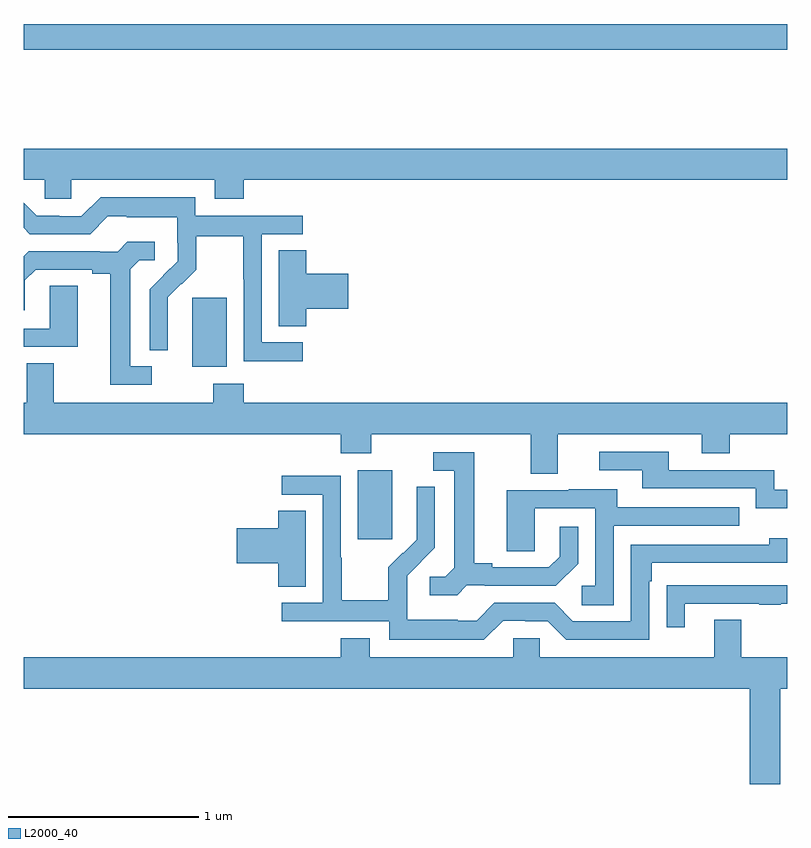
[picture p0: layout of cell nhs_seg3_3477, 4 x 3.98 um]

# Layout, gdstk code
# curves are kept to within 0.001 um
import gdstk
lib = gdstk.Library(unit=1e-6, precision=1e-09)
def R(c, l, rs):  # rectangles x0, y0, x1, y1
    for r in rs: c.add(gdstk.rectangle(r[:2], r[2:], *l))
def P(c, l, *ps):  # polygons
    for p in ps: c.add(gdstk.Polygon(p, *l))
L2000_40 = (2000, 40)

nhs_seg3_3477 = lib.new_cell('nhs_seg3_3477')
R(nhs_seg3_3477, L2000_40, [(292.751,717.681,292.93,718.042), (291.884,718.586,292.063,718.947), (291,720.244,295,720.38)])
P(nhs_seg3_3477, L2000_40, [(292.154,719.564),(295,719.564),(295,719.728),(291,719.728),(291,719.564),(291.111,719.564),(291.111,719.466),(291.249,719.466),(291.249,719.564),(292.001,719.564),(292.001,719.465),(292.154,719.465)],
  [(292.462,718.713),(292.248,718.713),(292.248,719.28),(292.462,719.28),(292.462,719.376),(291.9,719.376),(291.9,719.473),(291.403,719.473),(291.303,719.373),(291.188,719.373),(291.188,719.376),(291.069,719.376),(291,719.445),(291,719.313),(291.033,719.28),(291.348,719.28),(291.441,719.373),(291.541,719.373),(291.541,719.369),(291.804,719.369),(291.804,719.235),(291.806,719.235),(291.806,719.138),(291.66,718.99),(291.66,718.672),(291.756,718.672),(291.755,718.949),(291.825,719.019),(291.828,719.016),(291.905,719.093),(291.905,719.268),(292.15,719.268),(292.15,719.044),(292.152,719.044),(292.152,718.615),(292.462,718.615)],
  [(291.67,718.587),(291.559,718.587),(291.559,719.095),(291.606,719.142),(291.688,719.142),(291.688,719.239),(291.544,719.239),(291.492,719.187),(291.398,719.187),(291.398,719.19),(291.026,719.19),(291,719.164),(291,718.881),(291.007,718.881),(291.007,719.037),(291.064,719.094),(291.359,719.094),(291.359,719.072),(291.455,719.072),(291.455,718.491),(291.67,718.491)],
  [(292.481,718.889),(292.699,718.889),(292.699,719.072),(292.481,719.072),(292.481,719.195),(292.337,719.195),(292.337,718.798),(292.481,718.798)],
  [(291.283,719.009),(291.138,719.009),(291.138,718.785),(291,718.785),(291,718.689),(291.283,718.689)],
  [(293.797,718.232),(294.551,718.232),(294.551,718.133),(294.699,718.133),(294.699,718.232),(295,718.232),(295,718.396),(292.154,718.396),(292.154,718.495),(291.994,718.495),(291.994,718.396),(291.157,718.396),(291.157,718.604),(291.017,718.604),(291.017,718.396),(291,718.396),(291,718.232),(292.661,718.232),(292.661,718.133),(292.821,718.133),(292.821,718.232),(293.657,718.232),(293.657,718.024),(293.797,718.024)],
  [(295,717.942),(294.93,717.942),(294.93,718.044),(294.379,718.044),(294.379,718.14),(294.015,718.14),(294.015,718.044),(294.239,718.044),(294.239,717.948),(294.834,717.948),(294.834,717.845),(295,717.845)],
  [(293.322,717.441),(293.416,717.441),(293.416,717.438),(293.788,717.438),(293.904,717.554),(293.904,717.748),(293.807,717.748),(293.807,717.591),(293.75,717.534),(293.455,717.534),(293.455,717.557),(293.359,717.557),(293.359,718.137),(293.145,718.137),(293.145,718.041),(293.255,718.041),(293.255,717.533),(293.208,717.486),(293.127,717.486),(293.127,717.389),(293.27,717.389)],
  [(293.511,717.255),(293.627,717.255),(293.627,717.252),(293.745,717.252),(293.841,717.156),(294.276,717.156),(294.276,717.461),(294.289,717.461),(294.289,717.558),(295,717.558),(295,717.688),(294.905,717.688),(294.905,717.654),(294.18,717.654),(294.18,717.252),(293.877,717.252),(293.781,717.348),(293.466,717.348),(293.373,717.255),(293.273,717.255),(293.273,717.259),(293.01,717.259),(293.01,717.393),(293.008,717.393),(293.008,717.49),(293.154,717.638),(293.154,717.956),(293.058,717.956),(293.058,717.802),(293.06,717.802),(293.06,717.68),(292.989,717.609),(292.986,717.612),(292.909,717.535),(292.909,717.361),(292.665,717.361),(292.665,717.584),(292.662,717.584),(292.662,718.014),(292.353,718.014),(292.353,717.915),(292.566,717.915),(292.566,717.348),(292.353,717.348),(292.353,717.252),(292.914,717.252),(292.914,717.155),(293.411,717.155)],
  [(294.09,717.753),(294.749,717.753),(294.749,717.849),(294.109,717.849),(294.109,717.943),(293.855,717.943),(293.855,717.939),(293.531,717.939),(293.531,717.619),(293.676,717.619),(293.676,717.843),(293.994,717.843),(293.994,717.438),(293.922,717.438),(293.922,717.337),(294.09,717.337)],
  [(292.477,717.83),(292.334,717.83),(292.334,717.74),(292.116,717.74),(292.116,717.557),(292.334,717.557),(292.334,717.433),(292.477,717.433)],
  [(294.463,717.345),(294.853,717.345),(294.853,717.34),(294.965,717.34),(294.965,717.345),(295,717.345),(295,717.441),(294.469,717.441),(294.469,717.44),(294.367,717.44),(294.367,717.222),(294.463,717.222)],
  [(294.963,716.9),(295,716.9),(295,717.064),(294.757,717.064),(294.757,717.259),(294.617,717.259),(294.617,717.064),(293.703,717.064),(293.703,717.162),(293.565,717.162),(293.565,717.064),(292.813,717.064),(292.813,717.163),(292.661,717.163),(292.661,717.064),(291,717.064),(291,716.9),(294.803,716.9),(294.803,716.4),(294.963,716.4)])

lib.write_gds('nhs_seg3_3477.gds')
